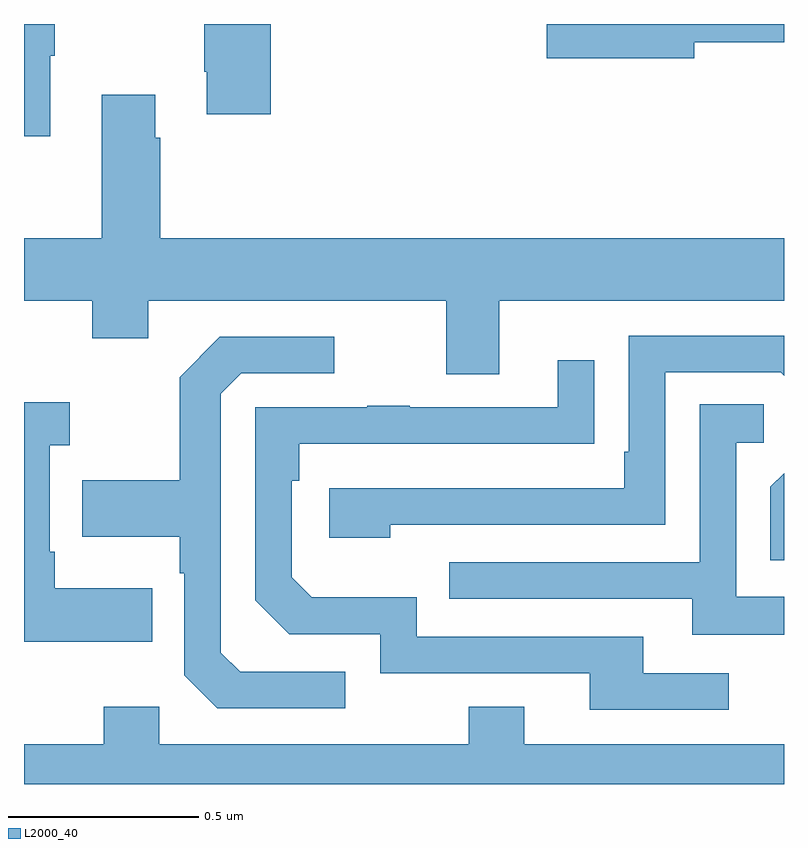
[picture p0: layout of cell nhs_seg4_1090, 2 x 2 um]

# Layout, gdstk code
import gdstk
lib = gdstk.Library(unit=1e-6, precision=1e-09)
def P(c, l, *ps):  # polygons
    for p in ps: c.add(gdstk.Polygon(p, *l))
L2000_40 = (2000, 40)

nhs_seg4_1090 = lib.new_cell('nhs_seg4_1090')
P(nhs_seg4_1090, L2000_40, [(125.764,778.852),(126,778.852),(126,778.9),(125.376,778.9),(125.376,778.81),(125.764,778.81)],
  [(124.069,778.817),(124.081,778.817),(124.081,778.9),(124,778.9),(124,778.605),(124.069,778.605)],
  [(124.649,778.9),(124.474,778.9),(124.474,778.774),(124.481,778.774),(124.481,778.662),(124.649,778.662)],
  [(125.251,778.172),(126,778.172),(126,778.336),(124.358,778.336),(124.358,778.601),(124.345,778.601),(124.345,778.714),(124.205,778.714),(124.205,778.336),(124,778.336),(124,778.172),(124.18,778.172),(124.18,778.073),(124.327,778.073),(124.327,778.172),(125.111,778.172),(125.111,777.978),(125.251,777.978)],
  [(124.964,777.582),(125.688,777.582),(125.688,777.984),(125.991,777.984),(126,777.975),(126,778.08),(125.592,778.08),(125.592,777.775),(125.579,777.775),(125.579,777.678),(124.803,777.678),(124.803,777.548),(124.964,777.548)],
  [(124.846,777.195),(124.569,777.195),(124.518,777.246),(124.518,777.927),(124.572,777.981),(124.816,777.981),(124.816,778.077),(124.515,778.077),(124.41,777.971),(124.41,777.699),(124.153,777.699),(124.153,777.551),(124.41,777.551),(124.41,777.455),(124.422,777.455),(124.422,777.186),(124.509,777.099),(124.846,777.099)],
  [(125.854,777.192),(125.629,777.192),(125.629,777.288),(125.034,777.288),(125.034,777.391),(124.757,777.391),(124.704,777.444),(124.704,777.698),(124.724,777.698),(124.724,777.795),(125.399,777.795),(125.399,777.796),(125.501,777.796),(125.501,778.015),(125.405,778.015),(125.405,777.891),(125.015,777.891),(125.015,777.896),(124.903,777.896),(124.903,777.891),(124.608,777.891),(124.608,777.384),(124.698,777.294),(124.938,777.294),(124.938,777.192),(125.489,777.192),(125.489,777.096),(125.854,777.096)],
  [(124.337,777.415),(124.081,777.415),(124.081,777.511),(124.068,777.511),(124.068,777.791),(124.12,777.791),(124.12,777.904),(124,777.904),(124,777.275),(124.337,777.275)],
  [(126,777.393),(125.874,777.393),(125.874,777.798),(125.947,777.798),(125.947,777.899),(125.778,777.899),(125.778,777.483),(125.119,777.483),(125.119,777.387),(125.759,777.387),(125.759,777.293),(126,777.293)],
  [(126,777.718),(125.964,777.682),(125.964,777.489),(126,777.489)],
  [(126,777.004),(125.317,777.004),(125.317,777.103),(125.17,777.103),(125.17,777.004),(124.356,777.004),(124.356,777.103),(124.21,777.103),(124.21,777.004),(124,777.004),(124,776.9),(126,776.9)])

lib.write_gds('nhs_seg4_1090.gds')
